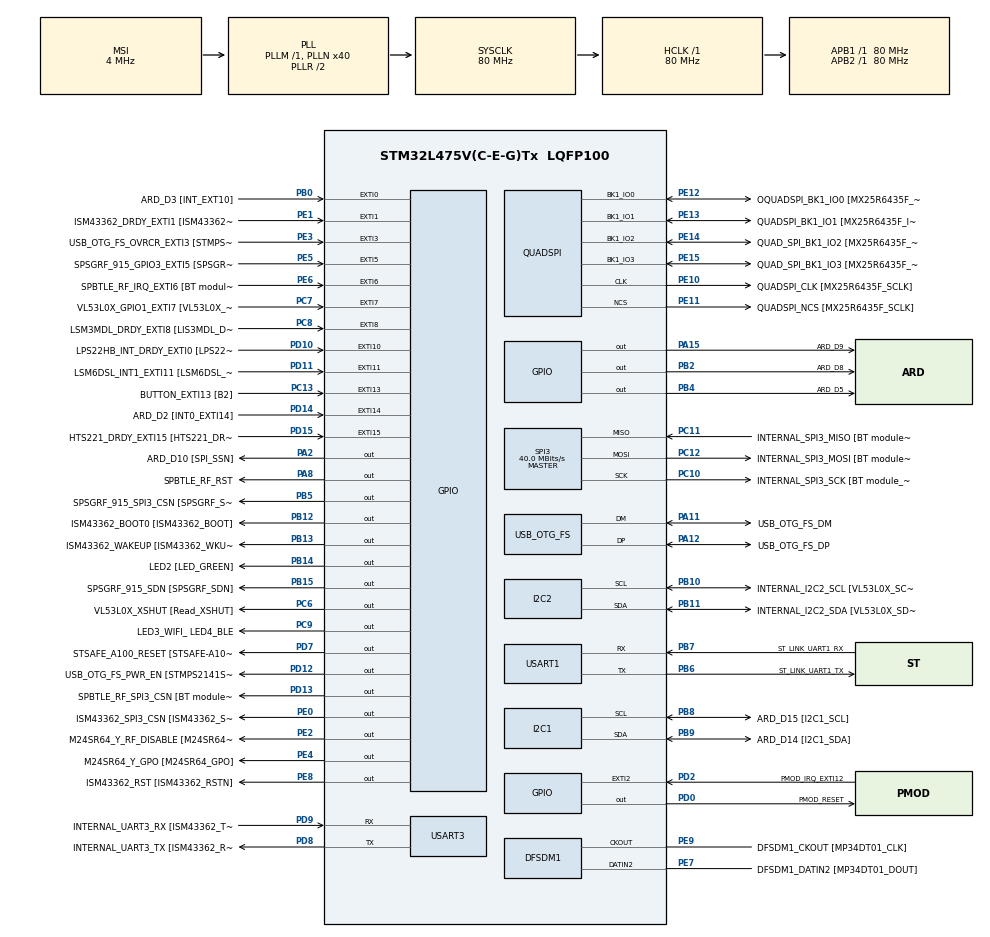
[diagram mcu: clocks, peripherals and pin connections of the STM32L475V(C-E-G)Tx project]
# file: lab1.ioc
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Mcu.Family=STM32L4
Mcu.Name=STM32L475V(C-E-G)Tx
Mcu.Package=LQFP100
NVIC.EXTI15_10_IRQn=true\:0\:0\:false\:false\:true\:true
NVIC.EXTI9_5_IRQn=true\:0\:0\:false\:false\:true\:true
NVIC.PriorityGroup=NVIC_PRIORITYGROUP_4
PA0.GPIO_Label=ARD_D1 [UART4_TX]
PA0.Signal=UART4_TX
PA1.GPIO_Label=ARD_D0 [UART4_RX]
PA1.Signal=UART4_RX
PA10.GPIO_Label=USB_OTG_FS_ID
PA10.Signal=USB_OTG_FS_ID
PA11.GPIO_Label=USB_OTG_FS_DM
PA11.Mode=Device_Only
PA11.Signal=USB_OTG_FS_DM
PA12.GPIO_Label=USB_OTG_FS_DP
PA12.Mode=Device_Only
PA12.Signal=USB_OTG_FS_DP
PA13\ (JTMS-SWDIO).GPIO_Label=SYS_JTMS_SWDIO
PA13\ (JTMS-SWDIO).Mode=Serial_Wire
PA13\ (JTMS-SWDIO).Signal=SYS_JTMS-SWDIO
PA14\ (JTCK-SWCLK).GPIO_Label=SYS_JTCK_SWCLK
PA14\ (JTCK-SWCLK).Mode=Serial_Wire
PA14\ (JTCK-SWCLK).Signal=SYS_JTCK-SWCLK
PA15\ (JTDI).GPIO_Label=ARD_D9
PA15\ (JTDI).Signal=GPIO_Output
PA2.GPIO_Label=ARD_D10 [SPI_SSN]
PA2.Signal=GPIO_Output
PA3.GPIO_Label=ARD_D4
PA3.Signal=S_TIM2_CH4
PA4.GPIO_Label=ARD_D7
PA4.Signal=ADCx_IN9
PA5.GPIO_Label=ARD_D13 [SPI1_SCK]
PA5.Signal=SPI1_SCK
PA6.GPIO_Label=ARD_D12 [SPI1_MISO]
PA6.Signal=SPI1_MISO
PA7.GPIO_Label=ARD_D11 [SPI1_MOSI]
PA7.Signal=SPI1_MOSI
PA8.GPIO_Label=SPBTLE_RF_RST
PA8.Signal=GPIO_Output
PA9.GPIO_Label=USB_OTG_FS_VBUS [STMPS2141STR_OUT]
PA9.Signal=USB_OTG_FS_VBUS
PB0.GPIO_Label=ARD_D3 [INT_EXT10]
PB0.Signal=GPXTI0
PB1.GPIO_Label=ARD_D6 [ADC1_IN6]
PB1.Signal=ADCx_IN16
PB10.GPIO_Label=INTERNAL_I2C2_SCL [VL53L0X_SCL]
PB10.Mode=I2C
PB10.Signal=I2C2_SCL
PB11.GPIO_Label=INTERNAL_I2C2_SDA [VL53L0X_SDA]
PB11.Mode=I2C
PB11.Signal=I2C2_SDA
PB12.GPIO_Label=ISM43362_BOOT0 [ISM43362_BOOT]
PB12.Signal=GPIO_Output
PB13.GPIO_Label=ISM43362_WAKEUP [ISM43362_WKUP]
PB13.Signal=GPIO_Output
PB14.GPIO_Label=LED2 [LED_GREEN]
PB14.Signal=GPIO_Output
PB15.GPIO_Label=SPSGRF_915_SDN [SPSGRF_SDN]
PB15.Signal=GPIO_Output
PB2.GPIO_Label=ARD_D8
PB2.Signal=GPIO_Output
PB3\ (JTDO-TRACESWO).GPIO_Label=SYS_JTD0_SWO
PB3\ (JTDO-TRACESWO).Signal=SYS_JTDO-SWO
PB4\ (NJTRST).GPIO_Label=ARD_D5
PB4\ (NJTRST).Signal=GPIO_Output
PB5.GPIO_Label=SPSGRF_915_SPI3_CSN [SPSGRF_SPI_CS]
PB5.Signal=GPIO_Output
PB6.GPIO_Label=ST_LINK_UART1_TX
PB6.Mode=Asynchronous
PB6.Signal=USART1_TX
PB7.GPIO_Label=ST_LINK_UART1_RX
PB7.Mode=Asynchronous
PB7.Signal=USART1_RX
PB8.GPIO_Label=ARD_D15 [I2C1_SCL]
PB8.Mode=I2C
PB8.Signal=I2C1_SCL
PB9.GPIO_Label=ARD_D14 [I2C1_SDA]
PB9.Mode=I2C
PB9.Signal=I2C1_SDA
PC0.GPIO_Label=ARD_A5 [ADC]
PC0.Signal=ADCx_IN1
PC1.GPIO_Label=ARD_A4 [ADC]
PC1.Signal=ADCx_IN2
PC10.GPIO_Label=INTERNAL_SPI3_SCK [BT module_SPI_SCLK]
PC10.Mode=Full_Duplex_Master
PC10.Signal=SPI3_SCK
PC11.GPIO_Label=INTERNAL_SPI3_MISO [BT module_SPI_MISO]
PC11.Mode=Full_Duplex_Master
PC11.Signal=SPI3_MISO
PC12.GPIO_Label=INTERNAL_SPI3_MOSI [BT module_SPI_MOSI]
PC12.Mode=Full_Duplex_Master
PC12.Signal=SPI3_MOSI
PC13.GPIO_Label=BUTTON_EXTI13 [B2]
PC13.GPIO_ModeDefaultEXTI=GPIO_MODE_IT_FALLING
PC13.Signal=GPXTI13
PC14-OSC32_IN\ (PC14).Mode=LSE-External-Oscillator
PC14-OSC32_IN\ (PC14).Signal=RCC_OSC32_IN
PC15-OSC32_OUT\ (PC15).Mode=LSE-External-Oscillator
PC15-OSC32_OUT\ (PC15).Signal=RCC_OSC32_OUT
PC2.GPIO_Label=ARD_A3 [ADC]
PC2.Signal=ADCx_IN3
PC3.GPIO_Label=ARD_A2 [ADC]
PC3.Signal=ADCx_IN4
PC4.GPIO_Label=ARD_A1 [ADC]
PC4.Signal=ADCx_IN13
PC5.GPIO_Label=ARD_A0 [ADC]
PC5.Signal=ADCx_IN14
PC6.GPIO_Label=VL53L0X_XSHUT [Read_XSHUT]
PC6.Signal=GPIO_Output
PC7.GPIO_Label=VL53L0X_GPIO1_EXTI7 [VL53L0X_GPIO1]
PC7.Signal=GPXTI7
PC8.GPIO_Label=LSM3MDL_DRDY_EXTI8 [LIS3MDL_DRDY]
PC8.Signal=GPXTI8
PC9.GPIO_Label=LED3_WIFI_ LED4_BLE
PC9.Signal=GPIO_Output
PD0.GPIO_Label=PMOD_RESET
PD0.Signal=GPIO_Output
PD1.GPIO_Label=PMOD_SPI2_SCK
PD1.Signal=SPI2_SCK
PD10.GPIO_Label=LPS22HB_INT_DRDY_EXTI0 [LPS22HB_INT_DRDY] 
PD10.Signal=GPXTI10
PD11.GPIO_Label=LSM6DSL_INT1_EXTI11 [LSM6DSL_INT1]
PD11.Signal=GPXTI11
PD12.GPIO_Label=USB_OTG_FS_PWR_EN [STMPS2141STR_EN]
PD12.Signal=GPIO_Output
PD13.GPIO_Label=SPBTLE_RF_SPI3_CSN [BT module_SPI_CS]
PD13.Signal=GPIO_Output
PD14.GPIO_Label=ARD_D2 [INT0_EXTI14]
PD14.Signal=GPXTI14
PD15.GPIO_Label=HTS221_DRDY_EXTI15 [HTS221_DRDY]
PD15.Signal=GPXTI15
PD2.GPIO_Label=PMOD_IRQ_EXTI12
PD2.Signal=GPXTI2
PD3.GPIO_Label=PMOD_UART2_CTS
PD3.Signal=USART2_CTS
PD4.GPIO_Label=PMOD_UART2_RTS
PD4.Signal=USART2_RTS
PD5.GPIO_Label=PMOD_UART2_TX
PD5.Signal=USART2_TX
PD6.GPIO_Label=PMOD_UART2_RX
PD6.Signal=USART2_RX
PD7.GPIO_Label=STSAFE_A100_RESET [STSAFE-A100_RESET]
PD7.Signal=GPIO_Output
PD8.GPIO_Label=INTERNAL_UART3_TX [ISM43362_RX]
PD8.Mode=Asynchronous
PD8.Signal=USART3_TX
PD9.GPIO_Label=INTERNAL_UART3_RX [ISM43362_TX]
PD9.Mode=Asynchronous
PD9.Signal=USART3_RX
PE0.GPIO_Label=ISM43362_SPI3_CSN [ISM43362_SSN]
PE0.Signal=GPIO_Output
PE1.GPIO_Label=ISM43362_DRDY_EXTI1 [ISM43362_DATARDY]
PE1.Signal=GPXTI1
PE10.GPIO_Label=QUADSPI_CLK [MX25R6435F_SCLK]
PE10.Mode=Single Bank
PE10.Signal=QUADSPI_CLK
PE11.GPIO_Label=QUADSPI_NCS [MX25R6435F_SCLK]
PE11.Mode=Single Bank
PE11.Signal=QUADSPI_NCS
PE12.GPIO_Label=OQUADSPI_BK1_IO0 [MX25R6435F_IO0]
PE12.Mode=Single Bank
PE12.Signal=QUADSPI_BK1_IO0
PE13.GPIO_Label=QUADSPI_BK1_IO1 [MX25R6435F_IO1]
PE13.Mode=Single Bank
PE13.Signal=QUADSPI_BK1_IO1
PE14.GPIO_Label=QUAD_SPI_BK1_IO2 [MX25R6435F_IO2]
PE14.Mode=Single Bank
PE14.Signal=QUADSPI_BK1_IO2
PE15.GPIO_Label=QUAD_SPI_BK1_IO3 [MX25R6435F_IO3]
PE15.Mode=Single Bank
PE15.Signal=QUADSPI_BK1_IO3
PE2.GPIO_Label=M24SR64_Y_RF_DISABLE [M24SR64_RFDIS]
PE2.Signal=GPIO_Output
PE3.GPIO_Label=USB_OTG_FS_OVRCR_EXTI3 [STMPS2141STR_FAULT]
PE3.Signal=GPXTI3
PE4.GPIO_Label=M24SR64_Y_GPO [M24SR64_GPO]
PE4.Signal=GPIO_Output
PE5.GPIO_Label=SPSGRF_915_GPIO3_EXTI5 [SPSGRF_GPIO_3]
PE5.Signal=GPXTI5
PE6.GPIO_Label=SPBTLE_RF_IRQ_EXTI6 [BT module_SPI_IRQ]
PE6.Signal=GPXTI6
PE7.GPIO_Label=DFSDM1_DATIN2 [MP34DT01_DOUT]
PE7.Signal=S_DATAIN2DFSDM1
PE8.GPIO_Label=ISM43362_RST [ISM43362_RSTN]
PE8.Signal=GPIO_Output
PE9.GPIO_Label=DFSDM1_CKOUT [MP34DT01_CLK]
PE9.Signal=S_CKOUTDFSDM1
ProjectManager.HeapSize=0x200
ProjectManager.StackSize=0x400
ProjectManager.TargetToolchain=MDK-ARM V5
RCC.ADCFreq_Value=48000000
RCC.AHBFreq_Value=80000000
RCC.APB1Freq_Value=80000000
RCC.APB1TimFreq_Value=80000000
RCC.APB2Freq_Value=80000000
RCC.APB2TimFreq_Value=80000000
RCC.CortexFreq_Value=80000000
RCC.HCLKFreq_Value=80000000
RCC.HSE_VALUE=8000000
RCC.HSI_VALUE=16000000
RCC.MSI_VALUE=4000000
RCC.PLLN=40
RCC.PLLSAI1N=24
RCC.SYSCLKFreq_VALUE=80000000
RCC.SYSCLKSource=RCC_SYSCLKSOURCE_PLLCLK
RCC.USBFreq_Value=48000000
RCC.VCOOutputFreq_Value=160000000
SH.ADCx_IN1.0=ADC1_IN1
SH.ADCx_IN13.0=ADC1_IN13
SH.ADCx_IN14.0=ADC1_IN14
SH.ADCx_IN16.0=ADC1_IN16
SH.ADCx_IN2.0=ADC1_IN2
SH.ADCx_IN3.0=ADC1_IN3
SH.ADCx_IN4.0=ADC1_IN4
SH.ADCx_IN9.0=ADC1_IN9
SH.S_CKOUTDFSDM1.0=DFSDM1_CKOUT,CKOUT
SH.S_CKOUTDFSDM1.1=DFSDM1_CKOUT,PDM_SPI_Input_from_ch12_and_Internal_Clock
SH.S_DATAIN2DFSDM1.0=DFSDM1_DATIN2,PDM_SPI_Input_from_ch12_and_Internal_Clock
SH.S_TIM2_CH4.0=TIM2_CH4
SPI3.CalculateBaudRate=40.0 MBits/s
SPI3.Direction=SPI_DIRECTION_2LINES
SPI3.Mode=SPI_MODE_MASTER
SPI3.VirtualType=VM_MASTER
USART1.VirtualMode-Asynchronous=VM_ASYNC
USART1.WordLength=WORDLENGTH_8B
USART3.VirtualMode-Asynchronous=VM_ASYNC
USB_OTG_FS.VirtualMode=Device_Only
board=B-L475E-IOT01A

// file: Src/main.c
/**
  ******************************************************************************
  * @file           : main.c
  * @brief          : Main program body
  ******************************************************************************
  ** This notice applies to any and all portions of this file
  * that are not between comment pairs USER CODE BEGIN and
  * USER CODE END. Other portions of this file, whether
  * inserted by the user or by software development tools
  * are owned by their respective copyright owners.
  *
  * COPYRIGHT(c) 2019 STMicroelectronics
  *
  * Redistribution and use in source and binary forms, with or without modification,
  * are permitted provided that the following conditions are met:
  *   1. Redistributions of source code must retain the above copyright notice,
  *      this list of conditions and the following disclaimer.
  *   2. Redistributions in binary form must reproduce the above copyright notice,
  *      this list of conditions and the following disclaimer in the documentation
  *      and/or other materials provided with the distribution.
  *   3. Neither the name of STMicroelectronics nor the names of its contributors
  *      may be used to endorse or promote products derived from this software
  *      without specific prior written permission.
  *
  * THIS SOFTWARE IS PROVIDED BY THE COPYRIGHT HOLDERS AND CONTRIBUTORS "AS IS"
  * AND ANY EXPRESS OR IMPLIED WARRANTIES, INCLUDING, BUT NOT LIMITED TO, THE
  * IMPLIED WARRANTIES OF MERCHANTABILITY AND FITNESS FOR A PARTICULAR PURPOSE ARE
  * DISCLAIMED. IN NO EVENT SHALL THE COPYRIGHT HOLDER OR CONTRIBUTORS BE LIABLE
  * FOR ANY DIRECT, INDIRECT, INCIDENTAL, SPECIAL, EXEMPLARY, OR CONSEQUENTIAL
  * DAMAGES (INCLUDING, BUT NOT LIMITED TO, PROCUREMENT OF SUBSTITUTE GOODS OR
  * SERVICES; LOSS OF USE, DATA, OR PROFITS; OR BUSINESS INTERRUPTION) HOWEVER
  * CAUSED AND ON ANY THEORY OF LIABILITY, WHETHER IN CONTRACT, STRICT LIABILITY,
  * OR TORT (INCLUDING NEGLIGENCE OR OTHERWISE) ARISING IN ANY WAY OUT OF THE USE
  * OF THIS SOFTWARE, EVEN IF ADVISED OF THE POSSIBILITY OF SUCH DAMAGE.
  *
  ******************************************************************************
  */
#include "main.h"
#include "stm32l4xx_hal.h"
#include "VL53l1X.h"
#include "USART1_util.h"

DFSDM_Channel_HandleTypeDef hdfsdm1_channel1;

I2C_HandleTypeDef hi2c1;
I2C_HandleTypeDef hi2c2;

QSPI_HandleTypeDef hqspi;

SPI_HandleTypeDef hspi3;

UART_HandleTypeDef huart1;
UART_HandleTypeDef huart3;

PCD_HandleTypeDef hpcd_USB_OTG_FS;

/* USER CODE BEGIN PV */
/* Private variables ---------------------------------------------------------*/
uint8_t status, status1, status2, status3, status4;
uint8_t buffer[12];
/* USER CODE END PV */

void SystemClock_Config(void);
static void MX_GPIO_Init(void);
static void MX_DFSDM1_Init(void);
static void MX_I2C2_Init(void);
static void MX_QUADSPI_Init(void);
static void MX_SPI3_Init(void);
static void MX_USART1_UART_Init(void);
static void MX_USART3_UART_Init(void);
static void MX_USB_OTG_FS_PCD_Init(void);
static void MX_I2C1_Init(void);

/* USER CODE BEGIN PFP */
/* Private function prototypes -----------------------------------------------*/

/* USER CODE END PFP */

int main(void)
{

  /* MCU Configuration----------------------------------------------------------*/

  /* Reset of all peripherals, Initializes the Flash interface and the Systick. */
  HAL_Init();

  /* Configure the system clock */
  SystemClock_Config();

  /* Initialize all configured peripherals */
  MX_GPIO_Init();
  MX_DFSDM1_Init();
  MX_I2C2_Init();
  MX_QUADSPI_Init();
  MX_SPI3_Init();
  MX_USART1_UART_Init();
  MX_USART3_UART_Init();
  MX_USB_OTG_FS_PCD_Init();
  MX_I2C1_Init();

  /* Infinite loop */
  while (1)
  {

  /* USER CODE BEGIN 3 */

		VL53L1_DataInit(hi2c2);
		VL53L1_StaticInit(hi2c2);
		VL53L1_StartMeasurement(hi2c2);

		//Write to USART
		USART1_puti(status);
		newlineUSART1();
		USART1_puti(status1);
		newlineUSART1();
		USART1_puti(status2);
		newlineUSART1();
		HAL_Delay(100);
	  putsUSART1("...");
		newlineUSART1();
		putsUSART1("...");
		newlineUSART1();

  }

  /* USER CODE END 3 */

}

void SystemClock_Config(void)
{

  RCC_OscInitTypeDef RCC_OscInitStruct;
  RCC_ClkInitTypeDef RCC_ClkInitStruct;
  RCC_PeriphCLKInitTypeDef PeriphClkInit;

    /**Configure LSE Drive Capability
    */
  __HAL_RCC_LSEDRIVE_CONFIG(RCC_LSEDRIVE_LOW);

    /**Initializes the CPU, AHB and APB busses clocks
    */
  RCC_OscInitStruct.OscillatorType = RCC_OSCILLATORTYPE_LSE|RCC_OSCILLATORTYPE_MSI;
  RCC_OscInitStruct.LSEState = RCC_LSE_ON;
  RCC_OscInitStruct.MSIState = RCC_MSI_ON;
  RCC_OscInitStruct.MSICalibrationValue = 0;
  RCC_OscInitStruct.MSIClockRange = RCC_MSIRANGE_6;
  RCC_OscInitStruct.PLL.PLLState = RCC_PLL_ON;
  RCC_OscInitStruct.PLL.PLLSource = RCC_PLLSOURCE_MSI;
  RCC_OscInitStruct.PLL.PLLM = 1;
  RCC_OscInitStruct.PLL.PLLN = 40;
  RCC_OscInitStruct.PLL.PLLP = RCC_PLLP_DIV7;
  RCC_OscInitStruct.PLL.PLLQ = RCC_PLLQ_DIV2;
  RCC_OscInitStruct.PLL.PLLR = RCC_PLLR_DIV2;
  if (HAL_RCC_OscConfig(&RCC_OscInitStruct) != HAL_OK)
  {
    _Error_Handler(__FILE__, __LINE__);
  }

    /**Initializes the CPU, AHB and APB busses clocks
    */
  RCC_ClkInitStruct.ClockType = RCC_CLOCKTYPE_HCLK|RCC_CLOCKTYPE_SYSCLK
                              |RCC_CLOCKTYPE_PCLK1|RCC_CLOCKTYPE_PCLK2;
  RCC_ClkInitStruct.SYSCLKSource = RCC_SYSCLKSOURCE_PLLCLK;
  RCC_ClkInitStruct.AHBCLKDivider = RCC_SYSCLK_DIV1;
  RCC_ClkInitStruct.APB1CLKDivider = RCC_HCLK_DIV1;
  RCC_ClkInitStruct.APB2CLKDivider = RCC_HCLK_DIV1;

  if (HAL_RCC_ClockConfig(&RCC_ClkInitStruct, FLASH_LATENCY_4) != HAL_OK)
  {
    _Error_Handler(__FILE__, __LINE__);
  }

  PeriphClkInit.PeriphClockSelection = RCC_PERIPHCLK_USART1|RCC_PERIPHCLK_USART3
                              |RCC_PERIPHCLK_I2C1|RCC_PERIPHCLK_I2C2
                              |RCC_PERIPHCLK_DFSDM1|RCC_PERIPHCLK_USB;
  PeriphClkInit.Usart1ClockSelection = RCC_USART1CLKSOURCE_PCLK2;
  PeriphClkInit.Usart3ClockSelection = RCC_USART3CLKSOURCE_PCLK1;
  PeriphClkInit.I2c1ClockSelection = RCC_I2C1CLKSOURCE_PCLK1;
  PeriphClkInit.I2c2ClockSelection = RCC_I2C2CLKSOURCE_PCLK1;
  PeriphClkInit.Dfsdm1ClockSelection = RCC_DFSDM1CLKSOURCE_PCLK;
  PeriphClkInit.UsbClockSelection = RCC_USBCLKSOURCE_PLLSAI1;
  PeriphClkInit.PLLSAI1.PLLSAI1Source = RCC_PLLSOURCE_MSI;
  PeriphClkInit.PLLSAI1.PLLSAI1M = 1;
  PeriphClkInit.PLLSAI1.PLLSAI1N = 24;
  PeriphClkInit.PLLSAI1.PLLSAI1P = RCC_PLLP_DIV7;
  PeriphClkInit.PLLSAI1.PLLSAI1Q = RCC_PLLQ_DIV2;
  PeriphClkInit.PLLSAI1.PLLSAI1R = RCC_PLLR_DIV2;
  PeriphClkInit.PLLSAI1.PLLSAI1ClockOut = RCC_PLLSAI1_48M2CLK;
  if (HAL_RCCEx_PeriphCLKConfig(&PeriphClkInit) != HAL_OK)
  {
    _Error_Handler(__FILE__, __LINE__);
  }

    /**Configure the main internal regulator output voltage
    */
  if (HAL_PWREx_ControlVoltageScaling(PWR_REGULATOR_VOLTAGE_SCALE1) != HAL_OK)
  {
    _Error_Handler(__FILE__, __LINE__);
  }

    /**Configure the Systick interrupt time
    */
  HAL_SYSTICK_Config(HAL_RCC_GetHCLKFreq()/1000);

    /**Configure the Systick
    */
  HAL_SYSTICK_CLKSourceConfig(SYSTICK_CLKSOURCE_HCLK);

    /**Enable MSI Auto calibration
    */
  HAL_RCCEx_EnableMSIPLLMode();

  /* SysTick_IRQn interrupt configuration */
  HAL_NVIC_SetPriority(SysTick_IRQn, 0, 0);
}

/* DFSDM1 init function */
static void MX_DFSDM1_Init(void)
{

  hdfsdm1_channel1.Instance = DFSDM1_Channel1;
  hdfsdm1_channel1.Init.OutputClock.Activation = ENABLE;
  hdfsdm1_channel1.Init.OutputClock.Selection = DFSDM_CHANNEL_OUTPUT_CLOCK_SYSTEM;
  hdfsdm1_channel1.Init.OutputClock.Divider = 2;
  hdfsdm1_channel1.Init.Input.Multiplexer = DFSDM_CHANNEL_EXTERNAL_INPUTS;
  hdfsdm1_channel1.Init.Input.DataPacking = DFSDM_CHANNEL_STANDARD_MODE;
  hdfsdm1_channel1.Init.Input.Pins = DFSDM_CHANNEL_FOLLOWING_CHANNEL_PINS;
  hdfsdm1_channel1.Init.SerialInterface.Type = DFSDM_CHANNEL_SPI_RISING;
  hdfsdm1_channel1.Init.SerialInterface.SpiClock = DFSDM_CHANNEL_SPI_CLOCK_INTERNAL;
  hdfsdm1_channel1.Init.Awd.FilterOrder = DFSDM_CHANNEL_FASTSINC_ORDER;
  hdfsdm1_channel1.Init.Awd.Oversampling = 1;
  hdfsdm1_channel1.Init.Offset = 0;
  hdfsdm1_channel1.Init.RightBitShift = 0x00;
  if (HAL_DFSDM_ChannelInit(&hdfsdm1_channel1) != HAL_OK)
  {
    _Error_Handler(__FILE__, __LINE__);
  }

}

/* I2C1 init function */
static void MX_I2C1_Init(void)
{

  hi2c1.Instance = I2C1;
  hi2c1.Init.Timing = 0x10909CEC;
  hi2c1.Init.OwnAddress1 = 0;
  hi2c1.Init.AddressingMode = I2C_ADDRESSINGMODE_7BIT;
  hi2c1.Init.DualAddressMode = I2C_DUALADDRESS_DISABLE;
  hi2c1.Init.OwnAddress2 = 0;
  hi2c1.Init.OwnAddress2Masks = I2C_OA2_NOMASK;
  hi2c1.Init.GeneralCallMode = I2C_GENERALCALL_DISABLE;
  hi2c1.Init.NoStretchMode = I2C_NOSTRETCH_DISABLE;
  if (HAL_I2C_Init(&hi2c1) != HAL_OK)
  {
    _Error_Handler(__FILE__, __LINE__);
  }

    /**Configure Analogue filter
    */
  if (HAL_I2CEx_ConfigAnalogFilter(&hi2c1, I2C_ANALOGFILTER_ENABLE) != HAL_OK)
  {
    _Error_Handler(__FILE__, __LINE__);
  }

    /**Configure Digital filter
    */
  if (HAL_I2CEx_ConfigDigitalFilter(&hi2c1, 0) != HAL_OK)
  {
    _Error_Handler(__FILE__, __LINE__);
  }

}

/* I2C2 init function */
static void MX_I2C2_Init(void)
{

  hi2c2.Instance = I2C2;
  hi2c2.Init.Timing = 0x10909CEC;
  hi2c2.Init.OwnAddress1 = 0;
  hi2c2.Init.AddressingMode = I2C_ADDRESSINGMODE_7BIT;
  hi2c2.Init.DualAddressMode = I2C_DUALADDRESS_DISABLE;
  hi2c2.Init.OwnAddress2 = 0;
  hi2c2.Init.OwnAddress2Masks = I2C_OA2_NOMASK;
  hi2c2.Init.GeneralCallMode = I2C_GENERALCALL_DISABLE;
  hi2c2.Init.NoStretchMode = I2C_NOSTRETCH_DISABLE;
  if (HAL_I2C_Init(&hi2c2) != HAL_OK)
  {
    _Error_Handler(__FILE__, __LINE__);
  }

    /**Configure Analogue filter
    */
  if (HAL_I2CEx_ConfigAnalogFilter(&hi2c2, I2C_ANALOGFILTER_ENABLE) != HAL_OK)
  {
    _Error_Handler(__FILE__, __LINE__);
  }

    /**Configure Digital filter
    */
  if (HAL_I2CEx_ConfigDigitalFilter(&hi2c2, 0) != HAL_OK)
  {
    _Error_Handler(__FILE__, __LINE__);
  }

}

/* QUADSPI init function */
static void MX_QUADSPI_Init(void)
{

  /* QUADSPI parameter configuration*/
  hqspi.Instance = QUADSPI;
  hqspi.Init.ClockPrescaler = 255;
  hqspi.Init.FifoThreshold = 1;
  hqspi.Init.SampleShifting = QSPI_SAMPLE_SHIFTING_NONE;
  hqspi.Init.FlashSize = 1;
  hqspi.Init.ChipSelectHighTime = QSPI_CS_HIGH_TIME_1_CYCLE;
  hqspi.Init.ClockMode = QSPI_CLOCK_MODE_0;
  if (HAL_QSPI_Init(&hqspi) != HAL_OK)
  {
    _Error_Handler(__FILE__, __LINE__);
  }

}

/* SPI3 init function */
static void MX_SPI3_Init(void)
{

  /* SPI3 parameter configuration*/
  hspi3.Instance = SPI3;
  hspi3.Init.Mode = SPI_MODE_MASTER;
  hspi3.Init.Direction = SPI_DIRECTION_2LINES;
  hspi3.Init.DataSize = SPI_DATASIZE_4BIT;
  hspi3.Init.CLKPolarity = SPI_POLARITY_LOW;
  hspi3.Init.CLKPhase = SPI_PHASE_1EDGE;
  hspi3.Init.NSS = SPI_NSS_SOFT;
  hspi3.Init.BaudRatePrescaler = SPI_BAUDRATEPRESCALER_2;
  hspi3.Init.FirstBit = SPI_FIRSTBIT_MSB;
  hspi3.Init.TIMode = SPI_TIMODE_DISABLE;
  hspi3.Init.CRCCalculation = SPI_CRCCALCULATION_DISABLE;
  hspi3.Init.CRCPolynomial = 7;
  hspi3.Init.CRCLength = SPI_CRC_LENGTH_DATASIZE;
  hspi3.Init.NSSPMode = SPI_NSS_PULSE_ENABLE;
  if (HAL_SPI_Init(&hspi3) != HAL_OK)
  {
    _Error_Handler(__FILE__, __LINE__);
  }

}

/* USART1 init function */
static void MX_USART1_UART_Init(void)
{

  huart1.Instance = USART1;
  huart1.Init.BaudRate = 115200;
  huart1.Init.WordLength = UART_WORDLENGTH_8B;
  huart1.Init.StopBits = UART_STOPBITS_1;
  huart1.Init.Parity = UART_PARITY_NONE;
  huart1.Init.Mode = UART_MODE_TX_RX;
  huart1.Init.HwFlowCtl = UART_HWCONTROL_NONE;
  huart1.Init.OverSampling = UART_OVERSAMPLING_16;
  huart1.Init.OneBitSampling = UART_ONE_BIT_SAMPLE_DISABLE;
  huart1.AdvancedInit.AdvFeatureInit = UART_ADVFEATURE_NO_INIT;
  if (HAL_UART_Init(&huart1) != HAL_OK)
  {
    _Error_Handler(__FILE__, __LINE__);
  }

}

/* USART3 init function */
static void MX_USART3_UART_Init(void)
{

  huart3.Instance = USART3;
  huart3.Init.BaudRate = 115200;
  huart3.Init.WordLength = UART_WORDLENGTH_7B;
  huart3.Init.StopBits = UART_STOPBITS_1;
  huart3.Init.Parity = UART_PARITY_NONE;
  huart3.Init.Mode = UART_MODE_TX_RX;
  huart3.Init.HwFlowCtl = UART_HWCONTROL_NONE;
  huart3.Init.OverSampling = UART_OVERSAMPLING_16;
  huart3.Init.OneBitSampling = UART_ONE_BIT_SAMPLE_DISABLE;
  huart3.AdvancedInit.AdvFeatureInit = UART_ADVFEATURE_NO_INIT;
  if (HAL_UART_Init(&huart3) != HAL_OK)
  {
    _Error_Handler(__FILE__, __LINE__);
  }

}

/* USB_OTG_FS init function */
static void MX_USB_OTG_FS_PCD_Init(void)
{

  hpcd_USB_OTG_FS.Instance = USB_OTG_FS;
  hpcd_USB_OTG_FS.Init.dev_endpoints = 6;
  hpcd_USB_OTG_FS.Init.speed = PCD_SPEED_FULL;
  hpcd_USB_OTG_FS.Init.ep0_mps = DEP0CTL_MPS_64;
  hpcd_USB_OTG_FS.Init.phy_itface = PCD_PHY_EMBEDDED;
  hpcd_USB_OTG_FS.Init.Sof_enable = DISABLE;
  hpcd_USB_OTG_FS.Init.low_power_enable = DISABLE;
  hpcd_USB_OTG_FS.Init.lpm_enable = DISABLE;
  hpcd_USB_OTG_FS.Init.battery_charging_enable = DISABLE;
  hpcd_USB_OTG_FS.Init.use_dedicated_ep1 = DISABLE;
  hpcd_USB_OTG_FS.Init.vbus_sensing_enable = DISABLE;
  if (HAL_PCD_Init(&hpcd_USB_OTG_FS) != HAL_OK)
  {
    _Error_Handler(__FILE__, __LINE__);
  }

}

/** Configure pins as
        * Analog
        * Input
        * Output
        * EVENT_OUT
        * EXTI
     PC0   ------> ADCx_IN1
     PC1   ------> ADCx_IN2
     PC2   ------> ADCx_IN3
     PC3   ------> ADCx_IN4
     PA0   ------> UART4_TX
     PA1   ------> UART4_RX
     PA3   ------> S_TIM2_CH4
     PA4   ------> ADCx_IN9
     PA5   ------> SPI1_SCK
     PA6   ------> SPI1_MISO
     PA7   ------> SPI1_MOSI
     PC4   ------> ADCx_IN13
     PC5   ------> ADCx_IN14
     PB1   ------> ADCx_IN16
     PD1   ------> SPI2_SCK
     PD3   ------> USART2_CTS
     PD4   ------> USART2_RTS
     PD5   ------> USART2_TX
     PD6   ------> USART2_RX
*/
static void MX_GPIO_Init(void)
{

  GPIO_InitTypeDef GPIO_InitStruct;

  /* GPIO Ports Clock Enable */
  __HAL_RCC_GPIOE_CLK_ENABLE();
  __HAL_RCC_GPIOC_CLK_ENABLE();
  __HAL_RCC_GPIOA_CLK_ENABLE();
  __HAL_RCC_GPIOB_CLK_ENABLE();
  __HAL_RCC_GPIOD_CLK_ENABLE();

  /*Configure GPIO pin Output Level */
  HAL_GPIO_WritePin(GPIOE, M24SR64_Y_RF_DISABLE_Pin|M24SR64_Y_GPO_Pin|ISM43362_RST_Pin|ISM43362_SPI3_CSN_Pin, GPIO_PIN_RESET);

  /*Configure GPIO pin Output Level */
  HAL_GPIO_WritePin(GPIOA, ARD_D10_Pin|SPBTLE_RF_RST_Pin|ARD_D9_Pin, GPIO_PIN_RESET);

  /*Configure GPIO pin Output Level */
  HAL_GPIO_WritePin(GPIOB, ARD_D8_Pin|ISM43362_BOOT0_Pin|ISM43362_WAKEUP_Pin|LED2_Pin
                          |SPSGRF_915_SDN_Pin|ARD_D5_Pin|SPSGRF_915_SPI3_CSN_Pin, GPIO_PIN_RESET);

  /*Configure GPIO pin Output Level */
  HAL_GPIO_WritePin(GPIOD, USB_OTG_FS_PWR_EN_Pin|SPBTLE_RF_SPI3_CSN_Pin|PMOD_RESET_Pin|STSAFE_A100_RESET_Pin, GPIO_PIN_RESET);

  /*Configure GPIO pin Output Level */
  HAL_GPIO_WritePin(GPIOC, VL53L0X_XSHUT_Pin|LED3_WIFI__LED4_BLE_Pin, GPIO_PIN_RESET);

  /*Configure GPIO pins : M24SR64_Y_RF_DISABLE_Pin M24SR64_Y_GPO_Pin ISM43362_RST_Pin ISM43362_SPI3_CSN_Pin */
  GPIO_InitStruct.Pin = M24SR64_Y_RF_DISABLE_Pin|M24SR64_Y_GPO_Pin|ISM43362_RST_Pin|ISM43362_SPI3_CSN_Pin;
  GPIO_InitStruct.Mode = GPIO_MODE_OUTPUT_PP;
  GPIO_InitStruct.Pull = GPIO_NOPULL;
  GPIO_InitStruct.Speed = GPIO_SPEED_FREQ_LOW;
  HAL_GPIO_Init(GPIOE, &GPIO_InitStruct);

  /*Configure GPIO pins : USB_OTG_FS_OVRCR_EXTI3_Pin SPSGRF_915_GPIO3_EXTI5_Pin SPBTLE_RF_IRQ_EXTI6_Pin ISM43362_DRDY_EXTI1_Pin */
  GPIO_InitStruct.Pin = USB_OTG_FS_OVRCR_EXTI3_Pin|SPSGRF_915_GPIO3_EXTI5_Pin|SPBTLE_RF_IRQ_EXTI6_Pin|ISM43362_DRDY_EXTI1_Pin;
  GPIO_InitStruct.Mode = GPIO_MODE_IT_RISING;
  GPIO_InitStruct.Pull = GPIO_NOPULL;
  HAL_GPIO_Init(GPIOE, &GPIO_InitStruct);

  /*Configure GPIO pin : BUTTON_EXTI13_Pin */
  GPIO_InitStruct.Pin = BUTTON_EXTI13_Pin;
  GPIO_InitStruct.Mode = GPIO_MODE_IT_FALLING;
  GPIO_InitStruct.Pull = GPIO_NOPULL;
  HAL_GPIO_Init(BUTTON_EXTI13_GPIO_Port, &GPIO_InitStruct);

  /*Configure GPIO pins : ARD_A5_Pin ARD_A4_Pin ARD_A3_Pin ARD_A2_Pin
                           ARD_A1_Pin ARD_A0_Pin */
  GPIO_InitStruct.Pin = ARD_A5_Pin|ARD_A4_Pin|ARD_A3_Pin|ARD_A2_Pin
                          |ARD_A1_Pin|ARD_A0_Pin;
  GPIO_InitStruct.Mode = GPIO_MODE_ANALOG_ADC_CONTROL;
  GPIO_InitStruct.Pull = GPIO_NOPULL;
  HAL_GPIO_Init(GPIOC, &GPIO_InitStruct);

  /*Configure GPIO pins : ARD_D1_Pin ARD_D0_Pin */
  GPIO_InitStruct.Pin = ARD_D1_Pin|ARD_D0_Pin;
  GPIO_InitStruct.Mode = GPIO_MODE_AF_PP;
  GPIO_InitStruct.Pull = GPIO_NOPULL;
  GPIO_InitStruct.Speed = GPIO_SPEED_FREQ_VERY_HIGH;
  GPIO_InitStruct.Alternate = GPIO_AF8_UART4;
  HAL_GPIO_Init(GPIOA, &GPIO_InitStruct);

  /*Configure GPIO pins : ARD_D10_Pin SPBTLE_RF_RST_Pin ARD_D9_Pin */
  GPIO_InitStruct.Pin = ARD_D10_Pin|SPBTLE_RF_RST_Pin|ARD_D9_Pin;
  GPIO_InitStruct.Mode = GPIO_MODE_OUTPUT_PP;
  GPIO_InitStruct.Pull = GPIO_NOPULL;
  GPIO_InitStruct.Speed = GPIO_SPEED_FREQ_LOW;
  HAL_GPIO_Init(GPIOA, &GPIO_InitStruct);

  /*Configure GPIO pin : ARD_D4_Pin */
  GPIO_InitStruct.Pin = ARD_D4_Pin;
  GPIO_InitStruct.Mode = GPIO_MODE_AF_PP;
  GPIO_InitStruct.Pull = GPIO_NOPULL;
  GPIO_InitStruct.Speed = GPIO_SPEED_FREQ_LOW;
  GPIO_InitStruct.Alternate = GPIO_AF1_TIM2;
  HAL_GPIO_Init(ARD_D4_GPIO_Port, &GPIO_InitStruct);

  /*Configure GPIO pin : ARD_D7_Pin */
  GPIO_InitStruct.Pin = ARD_D7_Pin;
  GPIO_InitStruct.Mode = GPIO_MODE_ANALOG_ADC_CONTROL;
  GPIO_InitStruct.Pull = GPIO_NOPULL;
  HAL_GPIO_Init(ARD_D7_GPIO_Port, &GPIO_InitStruct);

  /*Configure GPIO pins : ARD_D13_Pin ARD_D12_Pin ARD_D11_Pin */
  GPIO_InitStruct.Pin = ARD_D13_Pin|ARD_D12_Pin|ARD_D11_Pin;
  GPIO_InitStruct.Mode = GPIO_MODE_AF_PP;
  GPIO_InitStruct.Pull = GPIO_NOPULL;
  GPIO_InitStruct.Speed = GPIO_SPEED_FREQ_VERY_HIGH;
  GPIO_InitStruct.Alternate = GPIO_AF5_SPI1;
  HAL_GPIO_Init(GPIOA, &GPIO_InitStruct);

  /*Configure GPIO pin : ARD_D3_Pin */
  GPIO_InitStruct.Pin = ARD_D3_Pin;
  GPIO_InitStruct.Mode = GPIO_MODE_IT_RISING;
  GPIO_InitStruct.Pull = GPIO_NOPULL;
  HAL_GPIO_Init(ARD_D3_GPIO_Port, &GPIO_InitStruct);

  /*Configure GPIO pin : ARD_D6_Pin */
  GPIO_InitStruct.Pin = ARD_D6_Pin;
  GPIO_InitStruct.Mode = GPIO_MODE_ANALOG_ADC_CONTROL;
  GPIO_InitStruct.Pull = GPIO_NOPULL;
  HAL_GPIO_Init(ARD_D6_GPIO_Port, &GPIO_InitStruct);

  /*Configure GPIO pins : ARD_D8_Pin ISM43362_BOOT0_Pin ISM43362_WAKEUP_Pin LED2_Pin
                           SPSGRF_915_SDN_Pin ARD_D5_Pin SPSGRF_915_SPI3_CSN_Pin */
  GPIO_InitStruct.Pin = ARD_D8_Pin|ISM43362_BOOT0_Pin|ISM43362_WAKEUP_Pin|LED2_Pin
                          |SPSGRF_915_SDN_Pin|ARD_D5_Pin|SPSGRF_915_SPI3_CSN_Pin;
  GPIO_InitStruct.Mode = GPIO_MODE_OUTPUT_PP;
  GPIO_InitStruct.Pull = GPIO_NOPULL;
  GPIO_InitStruct.Speed = GPIO_SPEED_FREQ_LOW;
  HAL_GPIO_Init(GPIOB, &GPIO_InitStruct);

  /*Configure GPIO pins : LPS22HB_INT_DRDY_EXTI0_Pin LSM6DSL_INT1_EXTI11_Pin ARD_D2_Pin HTS221_DRDY_EXTI15_Pin
                           PMOD_IRQ_EXTI12_Pin */
  GPIO_InitStruct.Pin = LPS22HB_INT_DRDY_EXTI0_Pin|LSM6DSL_INT1_EXTI11_Pin|ARD_D2_Pin|HTS221_DRDY_EXTI15_Pin
                          |PMOD_IRQ_EXTI12_Pin;
  GPIO_InitStruct.Mode = GPIO_MODE_IT_RISING;
  GPIO_InitStruct.Pull = GPIO_NOPULL;
  HAL_GPIO_Init(GPIOD, &GPIO_InitStruct);

  /*Configure GPIO pins : USB_OTG_FS_PWR_EN_Pin SPBTLE_RF_SPI3_CSN_Pin PMOD_RESET_Pin STSAFE_A100_RESET_Pin */
  GPIO_InitStruct.Pin = USB_OTG_FS_PWR_EN_Pin|SPBTLE_RF_SPI3_CSN_Pin|PMOD_RESET_Pin|STSAFE_A100_RESET_Pin;
  GPIO_InitStruct.Mode = GPIO_MODE_OUTPUT_PP;
  GPIO_InitStruct.Pull = GPIO_NOPULL;
  GPIO_InitStruct.Speed = GPIO_SPEED_FREQ_LOW;
  HAL_GPIO_Init(GPIOD, &GPIO_InitStruct);

  /*Configure GPIO pins : VL53L0X_XSHUT_Pin LED3_WIFI__LED4_BLE_Pin */
  GPIO_InitStruct.Pin = VL53L0X_XSHUT_Pin|LED3_WIFI__LED4_BLE_Pin;
  GPIO_InitStruct.Mode = GPIO_MODE_OUTPUT_PP;
  GPIO_InitStruct.Pull = GPIO_NOPULL;
  GPIO_InitStruct.Speed = GPIO_SPEED_FREQ_LOW;
  HAL_GPIO_Init(GPIOC, &GPIO_InitStruct);

  /*Configure GPIO pins : VL53L0X_GPIO1_EXTI7_Pin LSM3MDL_DRDY_EXTI8_Pin */
  GPIO_InitStruct.Pin = VL53L0X_GPIO1_EXTI7_Pin|LSM3MDL_DRDY_EXTI8_Pin;
  GPIO_InitStruct.Mode = GPIO_MODE_IT_RISING;
  GPIO_InitStruct.Pull = GPIO_NOPULL;
  HAL_GPIO_Init(GPIOC, &GPIO_InitStruct);

  /*Configure GPIO pin : PMOD_SPI2_SCK_Pin */
  GPIO_InitStruct.Pin = PMOD_SPI2_SCK_Pin;
  GPIO_InitStruct.Mode = GPIO_MODE_AF_PP;
  GPIO_InitStruct.Pull = GPIO_NOPULL;
  GPIO_InitStruct.Speed = GPIO_SPEED_FREQ_VERY_HIGH;
  GPIO_InitStruct.Alternate = GPIO_AF5_SPI2;
  HAL_GPIO_Init(PMOD_SPI2_SCK_GPIO_Port, &GPIO_InitStruct);

  /*Configure GPIO pins : PMOD_UART2_CTS_Pin PMOD_UART2_RTS_Pin PMOD_UART2_TX_Pin PMOD_UART2_RX_Pin */
  GPIO_InitStruct.Pin = PMOD_UART2_CTS_Pin|PMOD_UART2_RTS_Pin|PMOD_UART2_TX_Pin|PMOD_UART2_RX_Pin;
  GPIO_InitStruct.Mode = GPIO_MODE_AF_PP;
  GPIO_InitStruct.Pull = GPIO_NOPULL;
  GPIO_InitStruct.Speed = GPIO_SPEED_FREQ_VERY_HIGH;
  GPIO_InitStruct.Alternate = GPIO_AF7_USART2;
  HAL_GPIO_Init(GPIOD, &GPIO_InitStruct);

  /* EXTI interrupt init*/
  HAL_NVIC_SetPriority(EXTI9_5_IRQn, 0, 0);
  HAL_NVIC_EnableIRQ(EXTI9_5_IRQn);

  HAL_NVIC_SetPriority(EXTI15_10_IRQn, 0, 0);
  HAL_NVIC_EnableIRQ(EXTI15_10_IRQn);

}

void _Error_Handler(char *file, int line)
{
  while(1)
  {
  }
}

/************************ (C) COPYRIGHT STMicroelectronics *****END OF FILE****/
